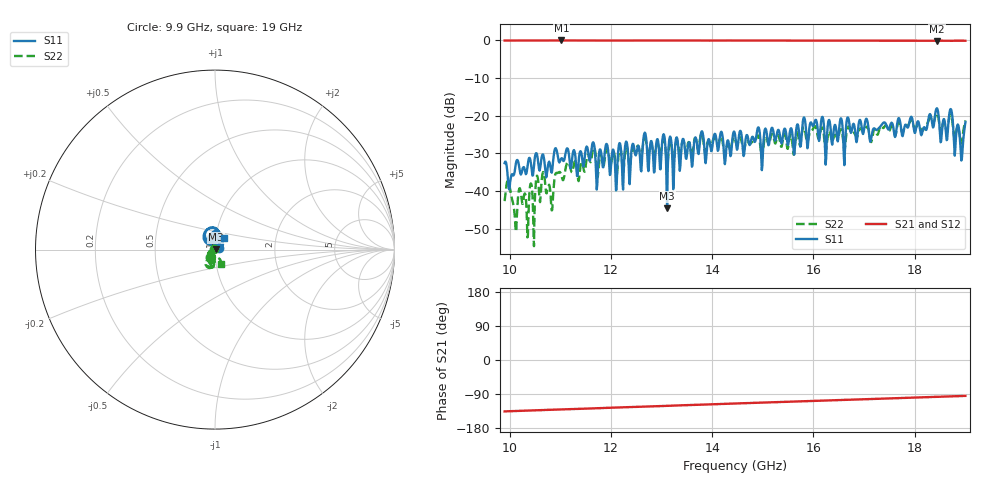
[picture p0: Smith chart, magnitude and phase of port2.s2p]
! RsaToolbox (C) 2015 Rohde & Schwarz America
! Number of points: 911
! Number of ports: 2
! Balanced ports?: No
# Hz S RI R 50
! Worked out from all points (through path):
!   911 points, 9.9 GHz to 19 GHz, reference 50 ohm
!   highest |S21| = -0.02 dB at 11.02 GHz (marker M1); lowest = -0.1 dB at 18.44 GHz (marker M2)
!   lowest |S11| = -44.6 dB at 13.11 GHz (marker M3), VSWR 1.01, Z = 50.5 + j0.225 ohm
!   |S11| at or under -10 dB: start of sweep to end of sweep
!   |S22| runs from -54.7 to -19.4 dB; largest |S21 - S12| = 0
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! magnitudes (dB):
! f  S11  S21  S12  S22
! 9.9 GHz  -32.6  0.0  0.0  -42.7
! 9.98 GHz  -39.1  0.0  0.0  -37.4
! 10.11 GHz  -33.8  0.0  0.0  -48.5
! 10.2 GHz  -34.6  0.0  0.0  -39.3
! 10.35 GHz  -33.7  0.0  0.0  -52.3
! 10.54 GHz  -30.3  0.0  0.0  -35.9
! 10.83 GHz  -35.2  0.0  0.0  -45.2
! 11.02 GHz  -31.3  0.0  0.0  -35.8
! 11.42 GHz  -30.2  0.0  0.0  -32.3
! 12.94 GHz  -27.7  0.0  0.0  -28.2
! 13.04 GHz  -24.9  -0.1  -0.1  -26.3
! 13.11 GHz  -44.6  -0.1  -0.1  -33.7
! 13.17 GHz  -25.5  -0.1  -0.1  -26.8
! 13.23 GHz  -39.5  -0.1  -0.1  -32.6
! 14.45 GHz  -25.0  0.0  0.0  -26.2
! 15.97 GHz  -22.3  -0.1  -0.1  -23.9
! 17.49 GHz  -23.6  -0.1  -0.1  -24.0
! 18.44 GHz  -18.0  -0.1  -0.1  -19.4
! 18.52 GHz  -26.9  -0.1  -0.1  -24.6
! 18.71 GHz  -18.2  -0.1  -0.1  -19.7
! 18.92 GHz  -31.9  -0.1  -0.1  -27.4
! 19 GHz  -21.8  -0.1  -0.1  -21.3
